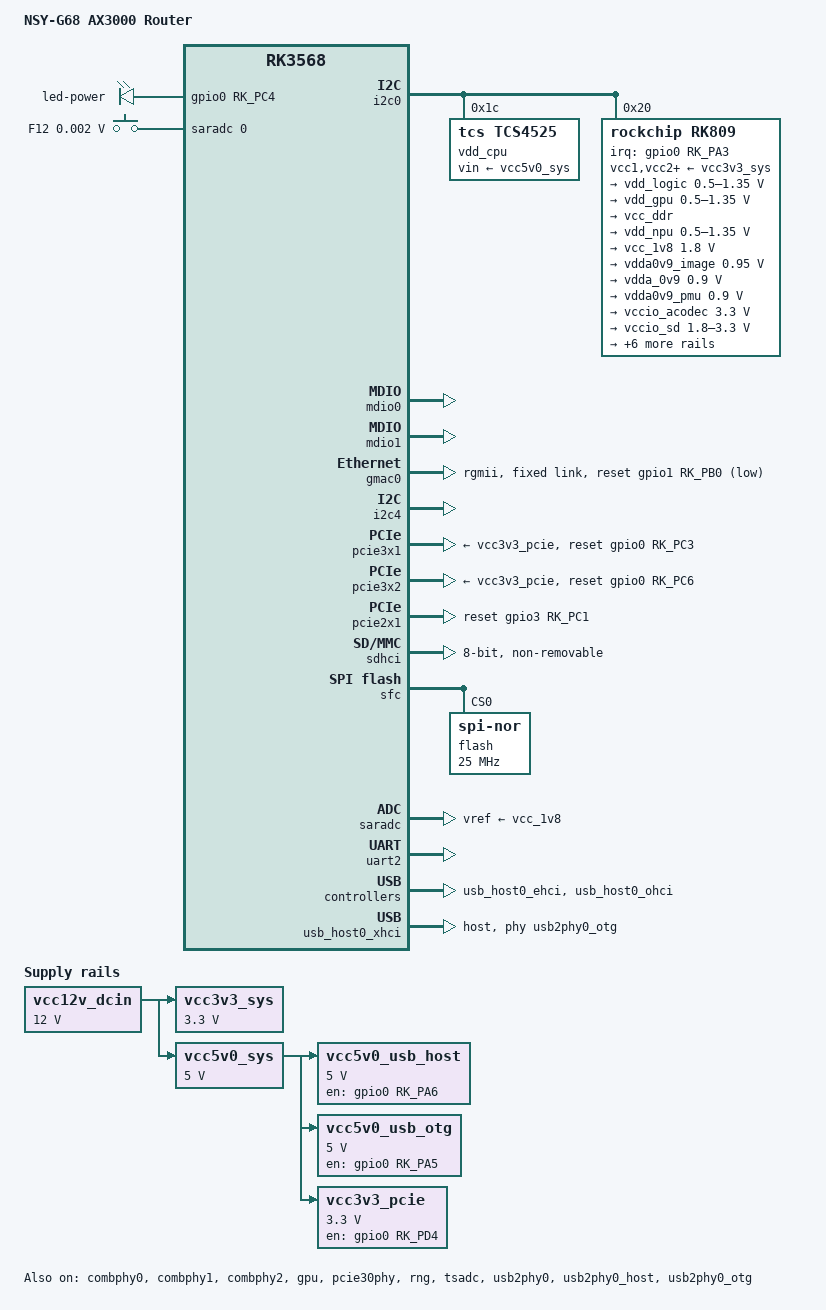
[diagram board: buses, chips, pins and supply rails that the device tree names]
// SPDX-License-Identifier: GPL-2.0-or-later OR MIT

/dts-v1/;

#include <dt-bindings/gpio/gpio.h>
#include <dt-bindings/pwm/pwm.h>
#include <dt-bindings/input/input.h>
#include <dt-bindings/leds/common.h>
#include <dt-bindings/pinctrl/rockchip.h>
#ifdef DTS_NO_LEGACY
#include <dt-bindings/soc/rockchip,vop2.h>
#else
#include <dt-bindings/display/rockchip_vop.h>
#endif
#include "rk3568.dtsi"

/ {
	model = "NSY-G68 AX3000 Router";
	compatible = "nsy,g68-plus", "rockchip,rk3568";

	aliases {
		ethernet0 = &gmac0;
		ethernet1 = &gmac1;
		mmc0 = &sdhci;
	};

	chosen: chosen {
		bootargs = "earlycon=uart8250,mmio32,0xfe660000 console=ttyFIQ0 rootwait";
	};

	fiq-debugger {
		compatible = "rockchip,fiq-debugger";
		rockchip,serial-id = <2>;
		rockchip,wake-irq = <0>;
		/* If enable uart uses irq instead of fiq */
		rockchip,irq-mode-enable = <1>;
		rockchip,baudrate = <1500000>;  /* Only 115200 and 1500000 */
		interrupts = <GIC_SPI 252 IRQ_TYPE_LEVEL_LOW>;
		pinctrl-names = "default";
		pinctrl-0 = <&uart2m0_xfer>;
		status = "okay";
	};

	debug: debug@fd904000 {
		compatible = "rockchip,debug";
		reg = <0x0 0xfd904000 0x0 0x1000>,
			<0x0 0xfd905000 0x0 0x1000>,
			<0x0 0xfd906000 0x0 0x1000>,
			<0x0 0xfd907000 0x0 0x1000>;
	};

	leds {
		compatible = "gpio-leds";
		led-power {
			label = "led-power";
			default-state = "on";
			gpios = <&gpio0 RK_PC4 GPIO_ACTIVE_HIGH>;
			pinctrl-names = "default";
			pinctrl-0 = <&led_power_en>;
		};
	};

	adc_keys: adc-keys {
		compatible = "adc-keys";
		io-channels = <&saradc 0>;
		io-channel-names = "buttons";
		keyup-threshold-microvolt = <1800000>;
		poll-interval = <100>;
		status = "okay";
		recovery-key {
			label = "F12";
			linux,code = <KEY_F12>;
			press-threshold-microvolt = <1750>;
		};
	};

	rtlgsw@0 {
		compatible = "realtek,rtl8367b", "realtek,rtl8367s";
		realtek,mdio = <&mdio0>;
		mii-bus = <&mdio0>;
		realtek,id = <29>;
		phy-id = <29>;
		cpu_port = <0x07>;
		realtek,extif1 = <1 0 1 1 1 1 1 1 2>;
		realtek,extif2 = <1 0 1 1 1 1 1 1 2>;
		status = "okay";
	};

	vcc12v_dcin: regulator-vcc12v-dcin {
		compatible = "regulator-fixed";
		regulator-name = "vcc12v_dcin";
		regulator-always-on;
		regulator-boot-on;
		regulator-min-microvolt = <12000000>;
		regulator-max-microvolt = <12000000>;
	};

	vcc3v3_sys: regulator-vcc3v3-sys {
		compatible = "regulator-fixed";
		regulator-name = "vcc3v3_sys";
		regulator-always-on;
		regulator-boot-on;
		regulator-min-microvolt = <3300000>;
		regulator-max-microvolt = <3300000>;
		vin-supply = <&vcc12v_dcin>;
	};

	vcc5v0_sys: regulator-vcc5v0-sys {
		compatible = "regulator-fixed";
		regulator-name = "vcc5v0_sys";
		regulator-always-on;
		regulator-boot-on;
		regulator-min-microvolt = <5000000>;
		regulator-max-microvolt = <5000000>;
		vin-supply = <&vcc12v_dcin>;
	};

	vcc5v0_usb_host: regulator-vcc5v0-usb-host {
		compatible = "regulator-fixed";
		enable-active-high;
		gpio = <&gpio0 RK_PA6 GPIO_ACTIVE_HIGH>;
		pinctrl-names = "default";
		pinctrl-0 = <&vcc5v0_usb_host_en>;
		regulator-name = "vcc5v0_usb_host";
		regulator-always-on;
		regulator-boot-on;
		regulator-min-microvolt = <5000000>;
		regulator-max-microvolt = <5000000>;
		vin-supply = <&vcc5v0_sys>;
	};

	vcc5v0_usb_otg: regulator-vcc5v0-usb-otg {
		compatible = "regulator-fixed";
		enable-active-high;
		gpio = <&gpio0 RK_PA5 GPIO_ACTIVE_HIGH>;
		pinctrl-names = "default";
		pinctrl-0 = <&vcc5v0_usb_otg_en>;
		regulator-name = "vcc5v0_usb_otg";
		regulator-min-microvolt = <5000000>;
		regulator-max-microvolt = <5000000>;
		vin-supply = <&vcc5v0_sys>;
	};

	vcc3v3_pcie: regulator-vcc3v3-pcie {
		compatible = "regulator-fixed";
		regulator-name = "vcc3v3_pcie";
		enable-active-high;
		gpios = <&gpio0 RK_PD4 GPIO_ACTIVE_HIGH>;
		pinctrl-names = "default";
		pinctrl-0 = <&pcie_pwr_en>;
		regulator-always-on;
		regulator-boot-on;
		regulator-min-microvolt = <3300000>;
		regulator-max-microvolt = <3300000>;
		vin-supply = <&vcc5v0_sys>;
	};

	gmac0_xpcsclk: xpcs-gmac0-clock {
		compatible = "fixed-clock";
		clock-frequency = <125000000>;
		clock-output-names = "clk_gmac0_xpcs_mii";
		#clock-cells = <0>;
	};

	gmac1_xpcsclk: xpcs-gmac1-clock {
		compatible = "fixed-clock";
		clock-frequency = <125000000>;
		clock-output-names = "clk_gmac1_xpcs_mii";
		#clock-cells = <0>;
	};
};

&i2c0 {
	status = "okay";

	vdd_cpu: regulator@1c {
		compatible = "tcs,tcs4525";
		reg = <0x1c>;
		fcs,suspend-voltage-selector = <1>;
		regulator-name = "vdd_cpu";
		regulator-always-on;
		regulator-boot-on;
		regulator-min-microvolt = <800000>;
		regulator-max-microvolt = <1400000>;
		regulator-init-microvolt = <1150000>;
		regulator-enable-ramp-delay = <300>;
		regulator-ramp-delay = <8000>;
		vin-supply = <&vcc5v0_sys>;

		regulator-state-mem {
			regulator-off-in-suspend;
		};
	};

	rk809: pmic@20 {
		compatible = "rockchip,rk809";
		reg = <0x20>;
		interrupt-parent = <&gpio0>;
		interrupts = <RK_PA3 IRQ_TYPE_LEVEL_LOW>;
		#clock-cells = <1>;
		pinctrl-names = "default";
		pinctrl-0 = <&pmic_int>;
		rockchip,system-power-controller;
		vcc1-supply = <&vcc3v3_sys>;
		vcc2-supply = <&vcc3v3_sys>;
		vcc3-supply = <&vcc3v3_sys>;
		vcc4-supply = <&vcc3v3_sys>;
		vcc5-supply = <&vcc3v3_sys>;
		vcc6-supply = <&vcc3v3_sys>;
		vcc7-supply = <&vcc3v3_sys>;
		vcc8-supply = <&vcc3v3_sys>;
		vcc9-supply = <&vcc3v3_sys>;
		wakeup-source;

		regulators {
			vdd_logic: DCDC_REG1 {
				regulator-name = "vdd_logic";
				regulator-always-on;
				regulator-boot-on;
				regulator-min-microvolt = <500000>;
				regulator-max-microvolt = <1350000>;
				regulator-ramp-delay = <6001>;
				regulator-initial-mode = <2>;

				regulator-state-mem {
					regulator-off-in-suspend;
				};
			};

			vdd_gpu: DCDC_REG2 {
				regulator-name = "vdd_gpu";
				regulator-always-on;
				regulator-boot-on;
				regulator-min-microvolt = <500000>;
				regulator-max-microvolt = <1350000>;
				regulator-ramp-delay = <6001>;
				regulator-initial-mode = <2>;

				regulator-state-mem {
					regulator-off-in-suspend;
				};
			};

			vcc_ddr: DCDC_REG3 {
				regulator-name = "vcc_ddr";
				regulator-always-on;
				regulator-boot-on;
				regulator-initial-mode = <2>;

				regulator-state-mem {
					regulator-on-in-suspend;
				};
			};

			vdd_npu: DCDC_REG4 {
				regulator-name = "vdd_npu";
				regulator-min-microvolt = <500000>;
				regulator-max-microvolt = <1350000>;
				regulator-ramp-delay = <6001>;
				regulator-initial-mode = <2>;

				regulator-state-mem {
					regulator-off-in-suspend;
				};
			};

			vcc_1v8: DCDC_REG5 {
				regulator-name = "vcc_1v8";
				regulator-always-on;
				regulator-boot-on;
				regulator-min-microvolt = <1800000>;
				regulator-max-microvolt = <1800000>;

				regulator-state-mem {
					regulator-off-in-suspend;
				};
			};

			vdda0v9_image: LDO_REG1 {
				regulator-name = "vdda0v9_image";
				regulator-min-microvolt = <950000>;
				regulator-max-microvolt = <950000>;

				regulator-state-mem {
					regulator-off-in-suspend;
				};
			};

			vdda_0v9: LDO_REG2 {
				regulator-name = "vdda_0v9";
				regulator-always-on;
				regulator-boot-on;
				regulator-min-microvolt = <900000>;
				regulator-max-microvolt = <900000>;

				regulator-state-mem {
					regulator-off-in-suspend;
				};
			};

			vdda0v9_pmu: LDO_REG3 {
				regulator-name = "vdda0v9_pmu";
				regulator-always-on;
				regulator-boot-on;
				regulator-min-microvolt = <900000>;
				regulator-max-microvolt = <900000>;

				regulator-state-mem {
					regulator-on-in-suspend;
					regulator-suspend-microvolt = <900000>;
				};
			};

			vccio_acodec: LDO_REG4 {
				regulator-name = "vccio_acodec";
				regulator-min-microvolt = <3300000>;
				regulator-max-microvolt = <3300000>;

				regulator-state-mem {
					regulator-off-in-suspend;
				};
			};

			vccio_sd: LDO_REG5 {
				regulator-name = "vccio_sd";
				regulator-min-microvolt = <1800000>;
				regulator-max-microvolt = <3300000>;

				regulator-state-mem {
					regulator-off-in-suspend;
				};
			};

			vcc3v3_pmu: LDO_REG6 {
				regulator-name = "vcc3v3_pmu";
				regulator-always-on;
				regulator-boot-on;
				regulator-min-microvolt = <3300000>;
				regulator-max-microvolt = <3300000>;

				regulator-state-mem {
					regulator-on-in-suspend;
					regulator-suspend-microvolt = <3300000>;
				};
			};

			vcca_1v8: LDO_REG7 {
				regulator-name = "vcca_1v8";
				regulator-always-on;
				regulator-boot-on;
				regulator-min-microvolt = <1800000>;
				regulator-max-microvolt = <1800000>;

				regulator-state-mem {
					regulator-off-in-suspend;
				};
			};

			vcca1v8_pmu: LDO_REG8 {
				regulator-name = "vcca1v8_pmu";
				regulator-always-on;
				regulator-boot-on;
				regulator-min-microvolt = <1800000>;
				regulator-max-microvolt = <1800000>;

				regulator-state-mem {
					regulator-on-in-suspend;
					regulator-suspend-microvolt = <1800000>;
				};
			};

			vcca1v8_image: LDO_REG9 {
				regulator-name = "vcca1v8_image";
				regulator-min-microvolt = <1800000>;
				regulator-max-microvolt = <1800000>;

				regulator-state-mem {
					regulator-off-in-suspend;
				};
			};

			vcc_3v3: SWITCH_REG1 {
				regulator-name = "vcc_3v3";
				regulator-always-on;
				regulator-boot-on;

				regulator-state-mem {
					regulator-off-in-suspend;
				};
			};

			vcc3v3_sd: SWITCH_REG2 {
				regulator-name = "vcc3v3_sd";
				regulator-always-on;
				regulator-boot-on;

				regulator-state-mem {
					regulator-off-in-suspend;
				};
			};
		};

	};
};

&combphy0 {
	status = "okay";
};

&combphy1 {
	rockchip,sgmii-mac-sel = <1>;
	status = "okay";
};

&combphy2 {
	status = "okay";
};

&cpu0 {
	cpu-supply = <&vdd_cpu>;
	mem-supply = <&vdd_cpu>;
};

&cpu1 {
	cpu-supply = <&vdd_cpu>;
	mem-supply = <&vdd_cpu>;
};

&cpu2 {
	cpu-supply = <&vdd_cpu>;
	mem-supply = <&vdd_cpu>;
};

&cpu3 {
	cpu-supply = <&vdd_cpu>;
	mem-supply = <&vdd_cpu>;
};

&gpu {
	mali-supply = <&vdd_gpu>;
	status = "okay";
};

&mdio0 {
	status = "okay";
};

&mdio1 {
	status = "okay";
};

&gmac0 {
	status = "okay";
	phy-mode = "rgmii";
	clock_in_out = "output";

	snps,reset-gpio = <&gpio1 RK_PB0 GPIO_ACTIVE_LOW>;
	snps,reset-active-low;
	/* Reset time is 20ms, 100ms for rtl8211f */
	snps,reset-delays-us = <0 20000 100000>;

	assigned-clocks = <&cru SCLK_GMAC0_RX_TX>, <&cru SCLK_GMAC0>;
	assigned-clock-parents = <&cru SCLK_GMAC0_RGMII_SPEED>, <&cru CLK_MAC0_2TOP>;
	assigned-clock-rates = <0>, <125000000>;

	pinctrl-names = "default";
	pinctrl-0 = <&gmac0_miim
		     &gmac0_tx_bus2
		     &gmac0_rx_bus2
		     &gmac0_rgmii_clk
		     &gmac0_rgmii_bus>;

	tx_delay = <0x4f>;
	rx_delay = <0x0f>;

	fixed-link {
		speed = <1000>;
		full-duplex;
		pause;
	};
};

&gmac1 {
     status = "disabled";
     phy-mode = "sgmii";
     rockchip,pipegrf = <&pipegrf>;
     //snps,reset-gpio = <&gpio2 RK_PC2 GPIO_ACTIVE_LOW>;
     //snps,reset-active-low;
     //snps,reset-delays-us = <0 20000 100000>;
     assigned-clocks = <&cru SCLK_GMAC1_RX_TX>;
     assigned-clock-parents = <&gmac1_xpcsclk>;
     pinctrl-names = "default";
     pinctrl-0 = <&gmac1m1_miim>;
     power-domains = <&power RK3568_PD_PIPE>;
     phys = <&combphy1 PHY_TYPE_SGMII>;

	fixed-link {
		speed = <1000>;
		full-duplex;
		pause;
	};
};

&i2c4 {
	status = "okay";
};

&i2c5 {
	status = "disabled";
};

&pcie30phy {
	data-lanes = <1 2>;
	status = "okay";
};

&pcie3x1 {
	rockchip,bifurcation;
	reset-gpios = <&gpio0 RK_PC3 GPIO_ACTIVE_HIGH>;
	vpcie3v3-supply = <&vcc3v3_pcie>;
	status = "okay";
};

&pcie3x2 {
	rockchip,bifurcation;
	reset-gpios = <&gpio0 RK_PC6 GPIO_ACTIVE_HIGH>;
	vpcie3v3-supply = <&vcc3v3_pcie>;
	status = "okay";
};

&pcie2x1 {
	reset-gpios = <&gpio3 RK_PC1 GPIO_ACTIVE_HIGH>;
	//vpcie3v3-supply = <&pcie30_3v3>;
	pinctrl-0 = <&pcie20m1_pins>;
	status = "okay";
};

&pinctrl {
	leds {
		led_power_en: led-power-en {
			rockchip,pins = <0 RK_PC4 RK_FUNC_GPIO &pcfg_pull_none>;
		};
	};

	pcie {
		pcie_pwr_en: pcie-pwr-en {
			rockchip,pins = <0 RK_PD4 RK_FUNC_GPIO &pcfg_pull_down>;
		};
	};

	pmic {
		pmic_int: pmic-int {
			rockchip,pins = <0 RK_PA3 RK_FUNC_GPIO &pcfg_pull_up>;
		};
	};

	usb {
		vcc5v0_usb_host_en: vcc5v0-usb-host-en {
			rockchip,pins = <0 RK_PA6 RK_FUNC_GPIO &pcfg_pull_none>;
		};

		vcc5v0_usb_otg_en: vcc5v0-usb-otg-en {
			rockchip,pins = <0 RK_PA5 RK_FUNC_GPIO &pcfg_pull_none>;
		};
	};

	rtl83xx_switches {
		rtl8367s_switch0_int: switch0-int {
			rockchip,pins = <1 RK_PB0 RK_FUNC_GPIO &pcfg_pull_none>;
		};
	};
};

&pmu_io_domains {
	pmuio2-supply = <&vcc3v3_pmu>;
	vccio1-supply = <&vccio_acodec>;
	vccio3-supply = <&vcc_3v3>;
	vccio4-supply = <&vcc_3v3>;
	vccio5-supply = <&vcc_3v3>;
	vccio6-supply = <&vcc_3v3>;
	vccio7-supply = <&vcc_3v3>;
	status = "okay";
};

&sdhci {
	bus-width = <8>;
	no-sdio;
	no-sd;
	supports-emmc;
	non-removable;
	max-frequency = <200000000>;
	full-pwr-cycle-in-suspend;
	pinctrl-names = "default";
	pinctrl-0 = <&emmc_bus8 &emmc_clk &emmc_cmd &emmc_datastrobe>;
	status = "okay";
};

&sdmmc0 {
	max-frequency = <150000000>;
	no-sdio;
	no-mmc;
	bus-width = <4>;
	cap-mmc-highspeed;
	cap-sd-highspeed;
	disable-wp;
	sd-uhs-sdr104;
	vmmc-supply = <&vcc3v3_sd>;
	vqmmc-supply = <&vccio_sd>;
	pinctrl-names = "default";
	pinctrl-0 = <&sdmmc0_bus4 &sdmmc0_clk &sdmmc0_cmd &sdmmc0_det>;
	status = "disabled";
};

&sfc {
	status = "okay";

	flash@0 {
		compatible = "spi-nor";
		reg = <0>;
		spi-max-frequency = <25000000>;
		spi-rx-bus-width = <1>;
		spi-tx-bus-width = <1>;
	};
};

&rng {
	status = "okay";
};

&tsadc {
	rockchip,hw-tshut-mode = <1>;
	rockchip,hw-tshut-polarity = <0>;
	status = "okay";
};

&saradc {
	vref-supply = <&vcc_1v8>;
	status = "okay";
};

&adc_keys {
	status = "okay";
};

&uart2 {
	status = "okay";
};

&usb_host0_ehci {
	status = "okay";
};

&usb_host0_ohci {
	status = "okay";
};

&usb_host0_xhci {
	dr_mode = "host";
	extcon = <&usb2phy0>;
	maximum-speed = "high-speed";
	phys = <&usb2phy0_otg>;
	phy-names = "usb2-phy";
	status = "okay";
};

&usb2phy0 {
	status = "okay";
};

&usb2phy0_host {
	phy-supply = <&vcc5v0_usb_host>;
	status = "okay";
};

&usb2phy0_otg {
	phy-supply = <&vcc5v0_usb_otg>;
	status = "okay";
};
